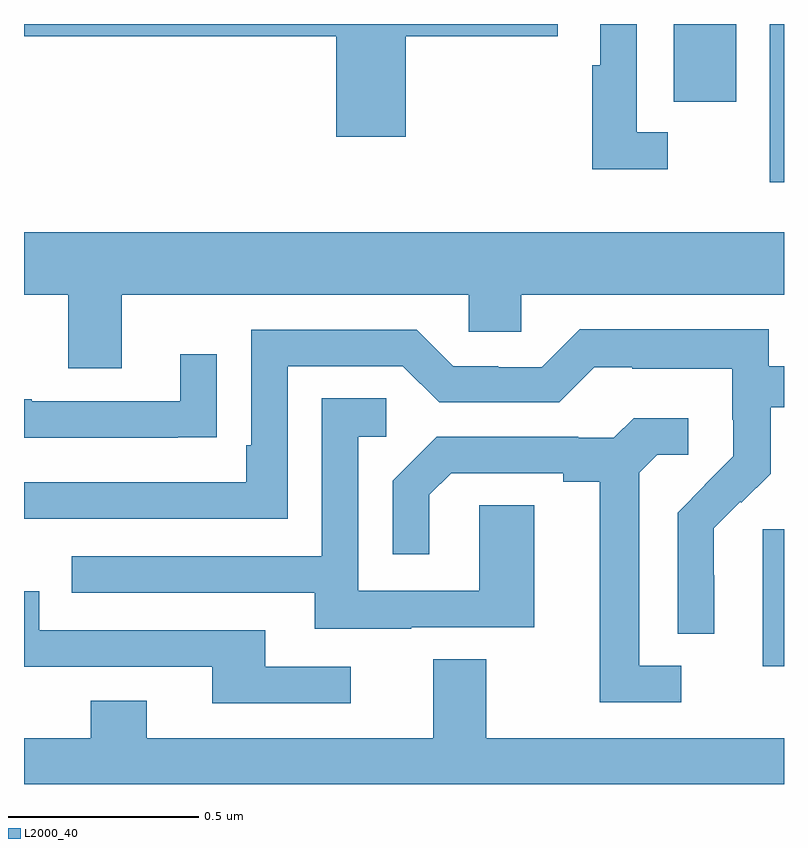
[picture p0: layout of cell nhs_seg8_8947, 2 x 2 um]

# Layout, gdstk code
import gdstk
lib = gdstk.Library(unit=1e-6, precision=1e-09)
def R(c, l, rs):  # rectangles x0, y0, x1, y1
    for r in rs: c.add(gdstk.rectangle(r[:2], r[2:], *l))
def P(c, l, *ps):  # polygons
    for p in ps: c.add(gdstk.Polygon(p, *l))
L2000_40 = (2000, 40)

nhs_seg8_8947 = lib.new_cell('nhs_seg8_8947')
R(nhs_seg8_8947, L2000_40, [(231.944,1094.21,232,1094.571), (231.962,1095.483,232,1095.9), (231.71,1095.696,231.874,1095.9)])
P(nhs_seg8_8947, L2000_40, [(231.694,1095.615),(231.612,1095.615),(231.612,1095.9),(231.516,1095.9),(231.516,1095.791),(231.496,1095.791),(231.496,1095.518),(231.694,1095.518)],
  [(231.005,1095.868),(231.405,1095.868),(231.405,1095.9),(230,1095.9),(230,1095.868),(230.822,1095.868),(230.822,1095.603),(231.005,1095.603)],
  [(230.257,1095.188),(231.171,1095.188),(231.171,1095.09),(231.309,1095.09),(231.309,1095.188),(232,1095.188),(232,1095.352),(230,1095.352),(230,1095.188),(230.117,1095.188),(230.117,1094.994),(230.257,1094.994)],
  [(231.816,1094.45),(231.815,1094.45),(231.815,1094.573),(231.885,1094.643),(231.888,1094.64),(231.965,1094.717),(231.965,1094.892),(232,1094.892),(232,1095),(231.96,1095),(231.96,1095.097),(231.463,1095.097),(231.363,1094.997),(231.248,1094.997),(231.248,1095),(231.129,1095),(231.033,1095.096),(230.598,1095.096),(230.598,1094.791),(230.585,1094.791),(230.585,1094.694),(230,1094.694),(230,1094.598),(230.694,1094.598),(230.694,1095),(230.997,1095),(231.093,1094.904),(231.408,1094.904),(231.501,1094.997),(231.601,1094.997),(231.601,1094.993),(231.864,1094.993),(231.864,1094.859),(231.866,1094.859),(231.866,1094.762),(231.792,1094.688),(231.793,1094.687),(231.72,1094.614),(231.72,1094.296),(231.816,1094.296)],
  [(230.405,1094.812),(230.507,1094.812),(230.507,1095.031),(230.411,1095.031),(230.411,1094.907),(230.021,1094.907),(230.021,1094.912),(230,1094.912),(230,1094.811),(230.405,1094.811)],
  [(231.019,1094.313),(231.343,1094.313),(231.343,1094.633),(231.198,1094.633),(231.198,1094.409),(230.88,1094.409),(230.88,1094.814),(230.953,1094.814),(230.953,1094.915),(230.784,1094.915),(230.784,1094.499),(230.125,1094.499),(230.125,1094.403),(230.765,1094.403),(230.765,1094.309),(231.019,1094.309)],
  [(231.73,1094.211),(231.619,1094.211),(231.619,1094.719),(231.666,1094.766),(231.748,1094.766),(231.748,1094.863),(231.604,1094.863),(231.552,1094.811),(231.458,1094.811),(231.458,1094.814),(231.086,1094.814),(230.97,1094.698),(230.97,1094.505),(231.067,1094.505),(231.067,1094.661),(231.124,1094.718),(231.419,1094.718),(231.419,1094.696),(231.515,1094.696),(231.515,1094.115),(231.73,1094.115)],
  [(230.86,1094.208),(230.635,1094.208),(230.635,1094.304),(230.04,1094.304),(230.04,1094.407),(230,1094.407),(230,1094.208),(230.495,1094.208),(230.495,1094.112),(230.86,1094.112)],
  [(232,1094.02),(231.217,1094.02),(231.217,1094.228),(231.077,1094.228),(231.077,1094.02),(230.323,1094.02),(230.323,1094.119),(230.176,1094.119),(230.176,1094.02),(230,1094.02),(230,1093.9),(232,1093.9)])

lib.write_gds('nhs_seg8_8947.gds')
